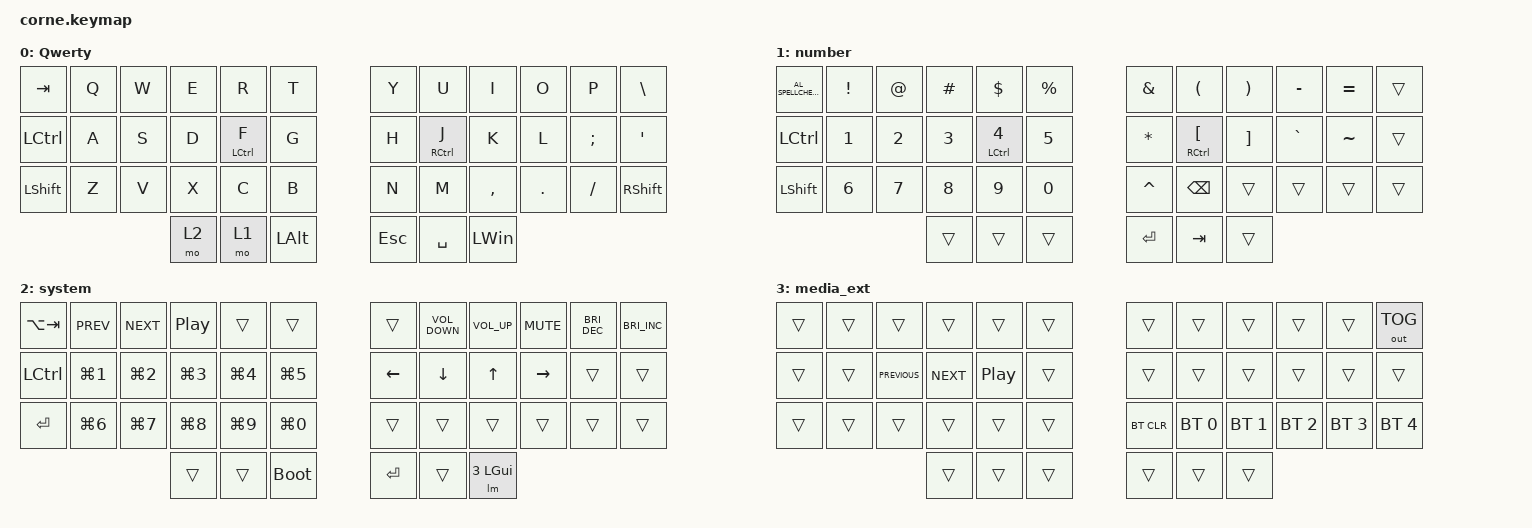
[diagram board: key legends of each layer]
/*
 * Copyright (c) 2020 The ZMK Contributors
 *
 * SPDX-License-Identifier: MIT
 */

#define HOST_OS 1

#include "keymap_french.h"
#include "helper.h"
#include "french_unicode.dtsi"
#include <behaviors.dtsi>
#include <dt-bindings/zmk/bt.h>
#include <dt-bindings/zmk/keys.h>
#include <dt-bindings/zmk/outputs.h>

/ {
    behaviors {
        #include "macros.dtsi"

        lm: layer_mod {
            compatible = "zmk,behavior-macro-two-param";
            label = "LAYER_MOD";
            #binding-cells = <2>;
            wait-ms = <0>;
            tap-ms = <0>;
            bindings = <&macro_param_1to1>,
                       <&macro_press &mo MACRO_PLACEHOLDER>,
                       <&macro_param_2to1>,
                       <&macro_press &kp MACRO_PLACEHOLDER>,
                       <&macro_pause_for_release>,
                       <&macro_param_2to1>,
                       <&macro_release &kp MACRO_PLACEHOLDER>,
                       <&macro_param_1to1>,
                       <&macro_release &mo MACRO_PLACEHOLDER>;
        };

        left_ctrl: left_ctrl {
            compatible = "zmk,behavior-hold-tap";
            label = "LEFT_CTRL";
            #binding-cells = <2>;
            tapping-term-ms = <200>;
            flavor = "tap-unless-interrupted";
            hold-while-undecided;
            hold-trigger-key-positions = <6 7 8 9 10 11 18 19 20 21 22 23 30 31 32 33 34 35 40 41 39 36 37 38>;
            bindings = <&kp>, <&kp>;
        };

        right_ctrl: right_ctrl {
            compatible = "zmk,behavior-hold-tap";
            label = "RIGHT_CTRL";
            bindings = <&kp>, <&kp>;

            #binding-cells = <2>;
            hold-while-undecided;
            flavor = "tap-unless-interrupted";
            hold-trigger-key-positions = <0 1 2 3 4 5 12 13 14 15 16 17 24 25 26 27 28 29 36 37 38 39 40 41>;
            tapping-term-ms = <200>;
        };
    };

    keymap {
        compatible = "zmk,keymap";

        Qwerty {
            // -----------------------------------------------------------------------------------------------------------
            // |  TAB#0 |  Q#1  |  W#2  |  E#3  |  R#4  |  T#5  |   |  Y#6  |  U#7   |  I#8  |  O#9  |  P#10  | BKSP#11 |
            // | CTRL#12|  A#13 |  S#14 |  D#15 |  F#16 |  G#17 |   |  H#18 |  J#19  |  K#20 |  L#21 |  ;#22  |  '#23   |
            // | SHFT#24|  Z#25 |  V#26 |  X#27 |  C#28 |  B#29 |   |  N#30 |  M#31  |  ,#32 |  .#33 |  /#34  | ESC#35  |
            //                          | GUI#36| LWR#37| SPC#38|   | ENT#39| RSE#40 | ALT#41|

            bindings = <
&kp TAB           &kp Q  &kp W  &kp E  &kp R               &kp T           &kp Y       &kp U                &kp I         &kp O    &kp P     &kp BACKSLASH
&kp LEFT_CONTROL  &kp A  &kp S  &kp D  &left_ctrl LCTRL F  &kp G           &kp H       &right_ctrl RCTRL J  &kp K         &kp L    &kp SEMI  &kp SQT
&kp LEFT_SHIFT    &kp Z  &kp V  &kp X  &kp C               &kp B           &kp N       &kp M                &kp COMMA     &kp DOT  &kp FSLH  &kp RIGHT_SHIFT
                                &mo 2  &mo 1               &kp LEFT_ALT    &kp ESCAPE  &kp SPACE            &kp LEFT_WIN
            >;
        };

        number {
            // -----------------------------------------------------------------------------------------
            // |  TAB |  1  |  2  |  3  |  4  |  5  |   |  6  |  7  |  8  |  9  |  0  | BKSP |
            // | BTCLR| BT1 | BT2 | BT3 | BT4 | BT5 |   | LFT | DWN |  UP | RGT |     |      |
            // | SHFT |     |     |     |     |     |   |     |     |     |     |     |      |
            //                    | GUI |     | SPC |   | ENT |     | ALT |

            bindings = <
&kp C_AL_SPELLCHECK  &kp EXCLAMATION  &kp AT_SIGN   &kp POUND     &kp DOLLAR                        &kp PERCENT    &kp AMPERSAND  &kp LEFT_PARENTHESIS                    &kp RIGHT_PARENTHESIS  &kp MINUS  &kp EQUAL  &trans
&kp LEFT_CONTROL     &kp NUMBER_1     &kp NUMBER_2  &kp NUMBER_3  &left_ctrl LEFT_CONTROL NUMBER_4  &kp N5         &kp ASTERISK   &right_ctrl RIGHT_CONTROL LEFT_BRACKET  &kp RIGHT_BRACKET      &kp GRAVE  &kp TILDE  &trans
&kp LSHFT            &kp NUMBER_6     &kp N7        &kp N8        &kp N9                            &kp N0         &kp CARET      &kp BACKSPACE                           &trans                 &trans     &trans     &trans
                                                    &trans        &trans                            &trans         &kp RET        &kp TAB                                 &trans
            >;
        };

        system {
            // -----------------------------------------------------------------------------------------
            // |  TAB |  !  |  @  |  #  |  $  |  %  |   |  ^  |  &  |  *  |  (  |  )  | BKSP |
            // | CTRL |     |     |     |     |     |   |  -  |  =  |  [  |  ]  |  \  |  `   |
            // | SHFT |     |     |     |     |     |   |  _  |  +  |  {  |  }  | "|" |  ~   |
            //                    | GUI |     | SPC |   | ENT |     | ALT |

            bindings = <
&kp LA(TAB)  &kp C_PREV        &kp C_NEXT        &kp C_PLAY_PAUSE  &trans            &trans              &trans    &kp C_VOLUME_DOWN  &kp C_VOLUME_UP  &kp K_MUTE  &kp C_BRIGHTNESS_DEC  &kp C_BRIGHTNESS_INC
&kp LCTRL    &kp LG(NUMBER_1)  &kp LG(NUMBER_2)  &kp LG(NUMBER_3)  &kp LG(NUMBER_4)  &kp LG(NUMBER_5)    &kp LEFT  &kp DOWN           &kp UP_ARROW     &kp RIGHT   &trans                &trans
&kp ENTER    &kp LG(NUMBER_6)  &kp LG(NUMBER_7)  &kp LG(NUMBER_8)  &kp LG(NUMBER_9)  &kp LG(NUMBER_0)    &trans    &trans             &trans           &trans      &trans                &trans
                                                 &trans            &trans            &bootloader         &kp RET   &trans             &lm 3 LGUI
            >;
        };

        media_ext {
            bindings = <
&trans  &trans  &trans          &trans      &trans            &trans    &trans      &trans        &trans        &trans        &trans        &out OUT_TOG
&trans  &trans  &kp C_PREVIOUS  &kp C_NEXT  &kp C_PLAY_PAUSE  &trans    &trans      &trans        &trans        &trans        &trans        &trans
&trans  &trans  &trans          &trans      &trans            &trans    &bt BT_CLR  &bt BT_SEL 0  &bt BT_SEL 1  &bt BT_SEL 2  &bt BT_SEL 3  &bt BT_SEL 4
                                &trans      &trans            &trans    &trans      &trans        &trans
            >;
        };
    };

    combos {
        compatible = "zmk,combos";

        combo_del {
            timeout-ms = <50>;
            key-positions = <12 18>;
            bindings = <&kp BACKSPACE>;
        };

        combo_enter {
            timeout-ms = <200>;
            key-positions = <12 31>;
            bindings = <&kp RET>;
        };
    };
};
